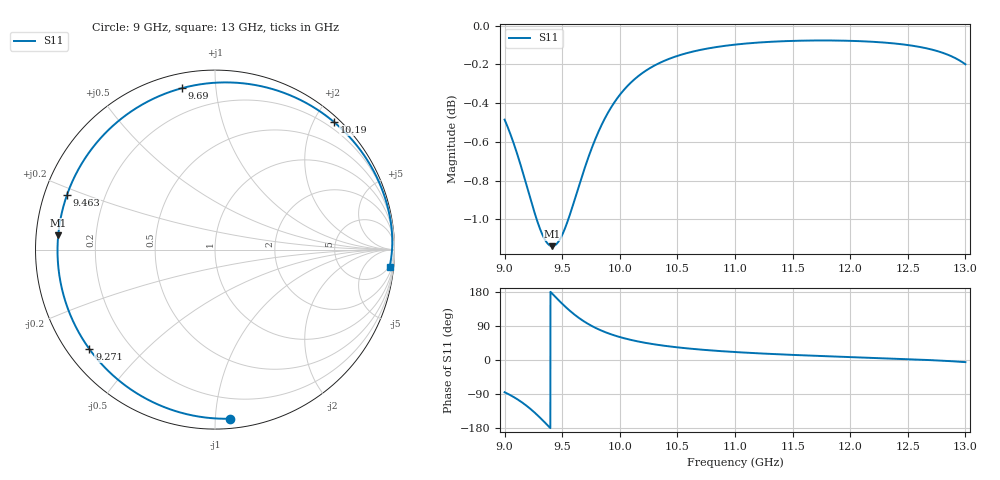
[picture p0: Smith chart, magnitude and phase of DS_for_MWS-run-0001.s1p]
! TOUCHSTONE file generated by CST DESIGN STUDIO
! Date and time: Tue Feb  4 16:05:06 2025
! Project name: C:\Work\MatlabApps\UnitCellOptimizationMatlab\CST\unitcell.cst
! Tree item: Tasks\Sweep1\SPara1\S-Parameters
! Header version: 2024
! Port assignment regex: !\s*Touchstone port\s*([0-9]+)\s*=\s*(CST MWS port|CST DES external port|CST DES block port)\s*(.+)\s* \(\"(.*)\"\)(\s*mode\s*([0-9]+))?.*
! Touchstone port assignment:
! Touchstone port 1 = CST DES external port 1 ("")
# GHz S MA R 50
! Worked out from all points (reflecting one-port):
!   4001 points, 9 GHz to 13 GHz, reference 50 ohm
!   lowest |S11| = -1.1 dB at 9.414 GHz (marker M1), VSWR 15.29, Z = 3.28 + j2.23 ohm
!   phase of S11 starts at -85 deg and turns -281 deg over the sweep
!   S11 on the Smith chart (normalised r, x): 9 GHz: 0.06, -1.09; 9.271 GHz: 0.06, -0.35; 9.463 GHz: 0.07, +0.18; 9.69 GHz: 0.07, +0.81; 10.19 GHz: 0.09, +2.30; 13 GHz: 5, -19
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9  0.9457 -85.1
9.08  0.9322 -97.9
9.148  0.9187 -111.2
9.21  0.9053 -125.5
9.271  0.8927 -141.6
9.346  0.8811 -163.8
9.38  0.8782 -174.4
9.414  0.8772 174.9
9.463  0.8792 159.6
9.5  0.8831 148.4
9.546  0.8901 135.4
9.592  0.8986 123.4
9.639  0.9079 112.3
9.69  0.9179 101.7
9.758  0.9301 89.6
9.84  0.9425 77.7
9.917  0.9518 68.6
10  0.9597 60.5
10.09  0.9663 53.5
10.191  0.972 47.0
10.333  0.9777 39.8
10.5  0.9822 33.4
10.723  0.986 26.9
11  0.9888 21.0
11.5  0.991 13.5
12  0.991 7.7
12.5  0.9885 2.2
13  0.9773 -5.6
